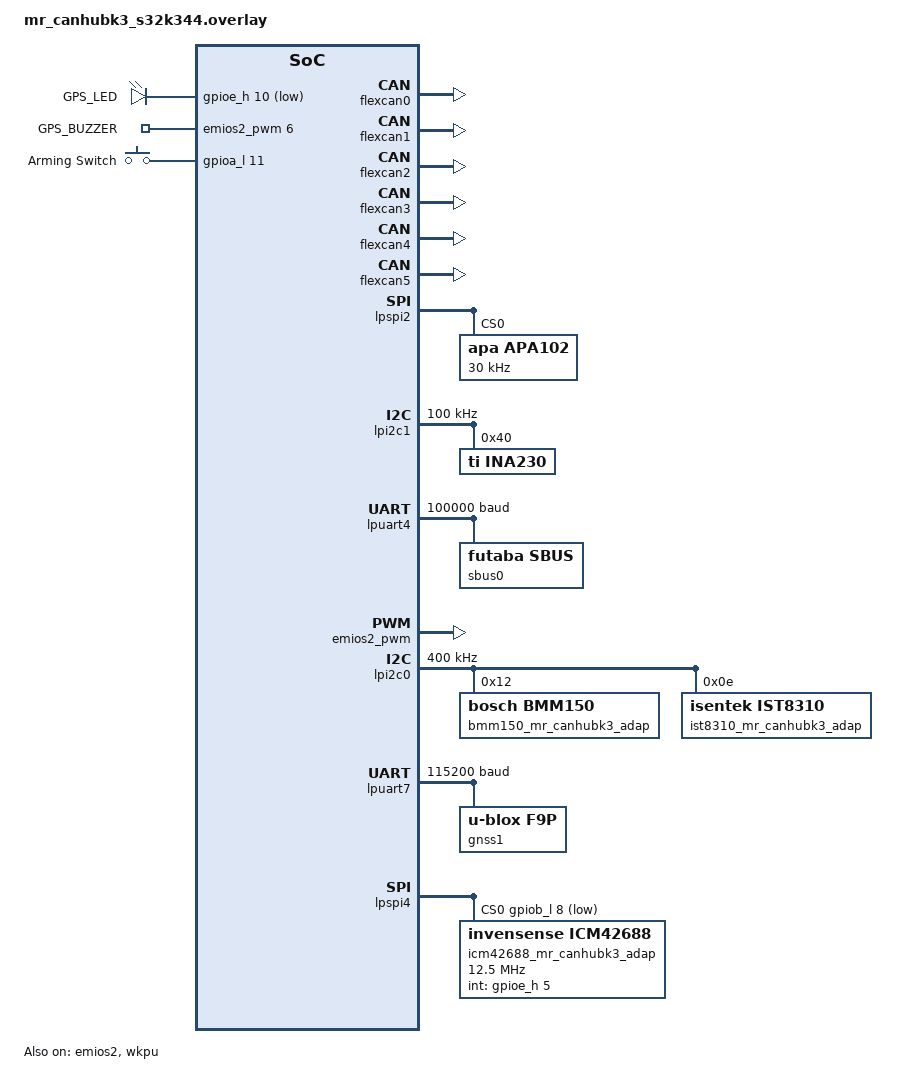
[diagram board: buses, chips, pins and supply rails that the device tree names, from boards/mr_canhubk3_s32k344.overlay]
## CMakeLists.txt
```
#-------------------------------------------------------------------------------
# Zephyr Cerebri Application
#
# Copyright (c) 2023 CogniPilot Foundation
# SPDX-License-Identifier: Apache-2.0

cmake_minimum_required(VERSION 3.13.1)

find_package(Zephyr REQUIRED HINTS $ENV{ZEPHYR_BASE})

project(b3rb LANGUAGES C)

set(CYECCA_PYTHON  ${CMAKE_CURRENT_SOURCE_DIR}/../../scripts/cyecca_python)

set(flags
  -std=c11
  -Wall
  -Wextra
  -Werror
  -Wstrict-prototypes
  -Waggregate-return
  -Wbad-function-cast
  -Wcast-align
  -Wcast-qual
  -Wfloat-equal
  -Wformat-security
  -Wlogical-op
  -Wmissing-declarations
  # ubxlib includes geographiclib which dir doesn't exist
  #-Wmissing-include-dirs
  -Wmissing-prototypes
  -Wnested-externs
  -Wpointer-arith
  -Wredundant-decls
  -Wsequence-point
  -Wshadow
  -Wstrict-prototypes
  -Wswitch
  -Wundef
  -Wunreachable-code
  -Wunused-but-set-parameter
  -Wwrite-strings
  )
string(JOIN " " flags ${flags})

set(SOURCE_FILES
  src/boot_banner.c
  src/input_mapping.c
  )

if (CONFIG_CEREBRI_B3RB_FSM)
  list(APPEND SOURCE_FILES src/fsm.c)
endif()

if (CONFIG_CEREBRI_B3RB_ESTIMATE)
  list(APPEND SOURCE_FILES src/estimate.c)
endif()

if (CONFIG_CEREBRI_B3RB_MIXING)
  list(APPEND SOURCE_FILES src/mixing.c)
endif()

if (CONFIG_CEREBRI_B3RB_LIGHTING)
  list(APPEND SOURCE_FILES src/lighting.c)
endif()

if (CONFIG_CEREBRI_B3RB_COMMAND)
  list(APPEND SOURCE_FILES src/command.c)
endif()

if (CONFIG_CEREBRI_B3RB_POSITION)
  list(APPEND SOURCE_FILES
    src/position.c)
endif()

if (CONFIG_CEREBRI_B3RB_VELOCITY)
  list(APPEND SOURCE_FILES
    src/velocity.c)
endif()

set(CASADI_DEST_DIR ${CMAKE_BINARY_DIR}/app/b3rb/casadi)

set(CASADI_FILES
  ${CASADI_DEST_DIR}/b3rb.c
  )

if (CONFIG_CEREBRI_B3RB_CASADI)
  list(APPEND SOURCE_FILES
    ${CASADI_DEST_DIR}/b3rb.c
    )
endif()

add_custom_command(OUTPUT ${CASADI_DEST_DIR}/b3rb.c
  COMMAND ${CYECCA_PYTHON} ${CMAKE_CURRENT_SOURCE_DIR}/src/casadi/b3rb.py ${CASADI_DEST_DIR}
  DEPENDS ${CMAKE_CURRENT_SOURCE_DIR}/src/casadi/b3rb.py)

set_source_files_properties(
  ${SOURCE_FILES}
  PROPERTIES COMPILE_FLAGS
  "${flags}"
  )

set_source_files_properties(
  ${CASADI_FILES}
  PROPERTIES COMPILE_FLAGS
  "${flags}\
  -Wno-unused-parameter\
  -Wno-missing-prototypes\
  -Wno-missing-declarations\
  -Wno-float-equal")

target_sources(app PRIVATE ${SOURCE_FILES})

target_include_directories(app SYSTEM BEFORE PRIVATE ${ZEPHYR_BASE}/include ${CMAKE_BINARY_DIR})

if ((CONFIG_BOARD STREQUAL "mr_navq95a") OR
  (CONFIG_BOARD STREQUAL "mr_navq95b"))
  # Relocate code to ITCM
  zephyr_linker_sources(ITCM_SECTION boards/mr_navq95_itcm_linker.ld)
  zephyr_code_relocate(LIBRARY nanopb LOCATION ITCM_TEXT)
  # Relocate log ring buffer to SDRAM
  zephyr_linker_sources(SECTIONS boards/navq95.ld)
endif()

# vi: ts=2 sw=2 et
```

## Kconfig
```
# Copyright (c) 2023, CogniPilot Foundation
# SPDX-License-Identifier: Apache-2.0

mainmenu "CogniPilot - Cerebri - B3RB"
menu "Zephyr"
source "Kconfig.zephyr"
endmenu

menu "B3RB"
config CEREBRI_B3RB_ESTIMATE
  bool "enable estimate"
  depends on CEREBRI_B3RB_CASADI
  help
    Enable estimator

config CEREBRI_B3RB_FSM
  bool "enable finite state machine"
  help
    Enable fintie state machine

config CEREBRI_B3RB_LIGHTING
  bool "enable lighting"
  help
    Enable lighting

config CEREBRI_B3RB_COMMAND
  bool "enable command"
  depends on CEREBRI_B3RB_MIXING
  help
    Enable command

config CEREBRI_B3RB_MIXING
  bool "enable mixing"
  help
    Enable mixing

config CEREBRI_B3RB_POSITION
  bool "enable position"
  depends on CEREBRI_B3RB_CASADI
  help
    Enable position

config CEREBRI_B3RB_VELOCITY
  bool "enable velocity"
  depends on CEREBRI_B3RB_MIXING
  depends on CEREBRI_B3RB_CASADI
  help
    Enable velocity

config CEREBRI_B3RB_CASADI
  bool "enable casadi code"
  help
    Enable Casadi generated code

config CEREBRI_B3RB_BATTERY_MIN_MILLIVOLT
  int "min battery voltage in milli volts before shut off"
  default 10000
  help
    Minimum battery voltage in mV before auto-disarm

config CEREBRI_B3RB_BATTERY_LOW_MILLIVOLT
  int "low battery voltage in milli volts before warning"
  default 10500
  help
    Low battery voltage in mV before warning

config CEREBRI_B3RB_BATTERY_MAX_MILLIVOLT
  int "max battery voltage in milli volts"
  default 12600
  help
    Maximum battery voltage

config CEREBRI_B3RB_GAIN_HEADING
  int "heading gain"
  default 100
  help
    Steering = Heading error * GAIN_/ 1000

config CEREBRI_B3RB_GAIN_CROSS_TRACK
  int "cross track gain"
  default 100
  help
    Steering = Cross track error * GAIN / 1000

config CEREBRI_B3RB_GAIN_ALONG_TRACK
  int "along track gain"
  default 100
  help
    Steering = Along track error * GAIN / 1000

config CEREBRI_B3RB_MAX_TURN_ANGLE_MRAD
  int "max turn angle mrad"
  default 400
  help
    Max turn angle in milli-radians

config CEREBRI_B3RB_MAX_VELOCITY_MM_S
  int "max velocity, mm/s"
  default 1000
  help
    Max velocity in mm/s

config CEREBRI_B3RB_WHEEL_RADIUS_MM
  int "wheel radius, mm"
  default 37
  help
    Wheel radius in mm

config CEREBRI_B3RB_WHEEL_BASE_MM
  int "wheel base, mm"
  default 226
  help
    Wheel radius in mm

module = CEREBRI_B3RB
module-str = cerebri_b3rb
source "subsys/logging/Kconfig.template.log_config"
endmenu
```

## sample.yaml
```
sample:
  description: B3RB
  name: B3RB
common:
  build_only: true
tests:
  b3rb.posix:
    tags:
      - b3rb
    integration_platforms:
      - native_sim
  b3rb.mr_canhubk3/s32k344:
    tags:
      - b3rb
    integration_platforms:
      - mr_canhubk3
  b3rb.mr_navq95a/mimx9596/m7/flash:
    tags:
      - b3rb
    integration_platforms:
      - mr_navq95a/mimx9596/m7/flash
  b3rb.mr_navq95b/mimx9596/m7/flash:
    tags:
      - b3rb
    integration_platforms:
      - mr_navq95b/mimx9596/m7/flash
```

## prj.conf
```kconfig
CONFIG_CEREBRI_APP_NAME="b3rb"

CONFIG_SYS_CLOCK_TICKS_PER_SEC=10000
CONFIG_TICKLESS_KERNEL=n

CONFIG_CEREBRI_DREAM_SIL=n

CONFIG_CEREBRI_B3RB_ESTIMATE=y
CONFIG_CEREBRI_B3RB_FSM=y
CONFIG_CEREBRI_B3RB_COMMAND=y
CONFIG_CEREBRI_B3RB_MIXING=y
CONFIG_CEREBRI_B3RB_POSITION=y
CONFIG_CEREBRI_B3RB_VELOCITY=y
CONFIG_CEREBRI_B3RB_LIGHTING=y
CONFIG_CEREBRI_B3RB_CASADI=y
CONFIG_CEREBRI_ACTUATE_LED_ARRAY_COUNT=12

CONFIG_CEREBRI_ACTUATE_PWM=y
CONFIG_CEREBRI_ACTUATE_LED_ARRAY=y
CONFIG_CEREBRI_ACTUATE_SOUND=y

CONFIG_NET_BUF_RX_COUNT=24
CONFIG_NET_PKT_RX_COUNT=24

CONFIG_CEREBRI_SENSE_RC=y
CONFIG_INPUT_MODE_SYNCHRONOUS=y
CONFIG_CEREBRI_SENSE_POWER=y
CONFIG_CEREBRI_SENSE_SAFETY=y
CONFIG_ZROS_SENSE_IMU=y
CONFIG_ZROS_SENSE_MAG=y
CONFIG_CEREBRI_SENSE_WHEEL_ODOMETRY=y

CONFIG_CEREBRI_SYNAPSE_ETH_RX=y
CONFIG_CEREBRI_SYNAPSE_ETH_TX=y

CONFIG_CEREBRI_SYNAPSE_TOPIC=y
CONFIG_CEREBRI_CORE_COMMON=y
CONFIG_CEREBRI_CORE_COMMON_BOOT_BANNER=y
CONFIG_ZROS=y
CONFIG_SHELL_STACK_SIZE=8192
CONFIG_INIT_STACKS=y

CONFIG_LOG=y
CONFIG_LOG_CMDS=y
CONFIG_LOG_MODE_DEFERRED=y

CONFIG_CEREBRI_SYNAPSE_LOG_SDCARD=n

CONFIG_CBPRINTF_FP_SUPPORT=y

# modules
CONFIG_SYNAPSE_PB=y
CONFIG_NANOPB=y

# Debug
CONFIG_CEREBRI_ACTUATE_PWM_LOG_LEVEL_DBG=n
CONFIG_CEREBRI_SENSE_WHEEL_ODOMETRY_LOG_LEVEL_DBG=n
CONFIG_ZROS_SENSE_IMU_LOG_LEVEL_DBG=n
CONFIG_CEREBRI_SENSE_SAFETY_LOG_LEVEL_DBG=n
CONFIG_CEREBRI_ACTUATE_PWM_LOG_LEVEL_DBG=n

# General config
CONFIG_POSIX_API=y
CONFIG_NEWLIB_LIBC=y
CONFIG_MAIN_THREAD_PRIORITY=5
CONFIG_SYSTEM_WORKQUEUE_PRIORITY=-2
CONFIG_SYS_CLOCK_TICKS_PER_SEC=10000

# Networking config
CONFIG_NET_SHELL=y
CONFIG_NETWORKING=y
CONFIG_NET_IPV4=y
CONFIG_NET_IPV6=n
CONFIG_NET_TCP=y
CONFIG_NET_SOCKETS=y

# Network address config
CONFIG_NET_CONFIG_SETTINGS=y
CONFIG_NET_STATISTICS=y
CONFIG_NET_MGMT_EVENT_INFO=y
CONFIG_NET_MGMT_EVENT_MONITOR=y
CONFIG_NET_BUF_POOL_USAGE=y
CONFIG_NET_DEBUG_NET_PKT_ALLOC=y
CONFIG_NET_CONFIG_NEED_IPV4=y
CONFIG_NET_CONFIG_MY_IPV4_ADDR="192.0.2.1"
CONFIG_NET_CONFIG_PEER_IPV4_ADDR="192.0.2.2"

# STATS
CONFIG_THREAD_RUNTIME_STATS=y
CONFIG_SCHED_THREAD_USAGE=y
CONFIG_SCHED_THREAD_USAGE_ANALYSIS=y
CONFIG_SCHED_THREAD_USAGE_ALL=y
CONFIG_SCHED_THREAD_USAGE_AUTO_ENABLE=y
```

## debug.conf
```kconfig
../common/debug.conf
```

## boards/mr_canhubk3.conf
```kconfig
CONFIG_ENTROPY_GENERATOR=y
CONFIG_TEST_RANDOM_GENERATOR=y

CONFIG_CEREBRI_ACTUATE_PWM_NUMBER=2
CONFIG_LED_STRIP=y
CONFIG_APA102_STRIP=y

CONFIG_ETH_NXP_S32_RX_RING_LEN=16

# steering
CONFIG_CEREBRI_ACTUATE_PWM_USE_POS_0=y
CONFIG_CEREBRI_ACTUATE_PWM_INDEX_0=0
CONFIG_CEREBRI_ACTUATE_PWM_LINEAR_0=y
CONFIG_CEREBRI_ACTUATE_PWM_LINEAR_M_0=800
CONFIG_CEREBRI_ACTUATE_PWM_LINEAR_M_DIV_0=1
CONFIG_CEREBRI_ACTUATE_PWM_LINEAR_B_0=1500
CONFIG_CEREBRI_ACTUATE_PWM_LINEAR_B_DIV_0=1

# throttle
CONFIG_CEREBRI_ACTUATE_PWM_INDEX_1=0
CONFIG_CEREBRI_ACTUATE_PWM_USE_NANO_SECONDS_1=y
CONFIG_CEREBRI_ACTUATE_PWM_PULSE_MIN_1=0
CONFIG_CEREBRI_ACTUATE_PWM_PULSE_MAX_1=500000
CONFIG_CEREBRI_ACTUATE_PWM_PULSE_CENTER_1=25000
CONFIG_CEREBRI_ACTUATE_PWM_LINEAR_1=y
CONFIG_CEREBRI_ACTUATE_PWM_LINEAR_M_1=717
CONFIG_CEREBRI_ACTUATE_PWM_LINEAR_M_DIV_1=1
CONFIG_CEREBRI_ACTUATE_PWM_LINEAR_B_1=25000
CONFIG_CEREBRI_ACTUATE_PWM_LINEAR_B_DIV_1=1

# GPS M10
CONFIG_CEREBRI_SENSE_UBX_GNSS_MODULE_TYPE_M10=y

CONFIG_PWM=y

CONFIG_CAN=y
CONFIG_CAN_MAX_FILTER=5
CONFIG_CAN_SHELL=y

CONFIG_NET_DRIVERS=y
CONFIG_NET_CANBUS=y

CONFIG_NET_SOCKETS_CAN=y
CONFIG_NET_DEFAULT_IF_CANBUS_RAW=y

CONFIG_CAN_LOG_LEVEL_DBG=n
CONFIG_CAN_FD_MODE=y
CONFIG_SHELL_ARGC_MAX=72
CONFIG_I2C=y
CONFIG_SENSOR=y
CONFIG_HEAP_MEM_POOL_SIZE=16384

# Debugging
CONFIG_DEBUG_THREAD_INFO=y

# Logging
#CONFIG_LOG_BACKEND_NET=n
#CONFIG_LOG_BACKEND_NET_SERVER="192.0.2.2"
```

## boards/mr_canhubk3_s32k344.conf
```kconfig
CONFIG_ENTROPY_GENERATOR=y
CONFIG_TEST_RANDOM_GENERATOR=y
CONFIG_SPEED_OPTIMIZATIONS=y
CONFIG_SIZE_OPTIMIZATIONS=n

CONFIG_TEST=y
CONFIG_UBSAN=n
CONFIG_ASSERT=y
CONFIG_ASSERT_LEVEL=2
CONFIG_ASSERT_VERBOSE=y

CONFIG_SYSTEM_WORKQUEUE_STACK_SIZE=4096

CONFIG_STACK_CANARIES=y

CONFIG_ISR_STACK_SIZE=2048

CONFIG_LOG_MODE_DEFERRED=y
CONFIG_LOG_MODE_IMMEDIATE=n

CONFIG_FPU=y

# config
CONFIG_INPUT=y
CONFIG_INPUT_GPIO_KEYS=y
CONFIG_INPUT_SBUS=y
CONFIG_INPUT_SBUS_THREAD_STACK_SIZE=8192
CONFIG_INPUT_SBUS_REPORT_FILTER=0
CONFIG_INPUT_EVENT_DUMP=n
CONFIG_INPUT_SHELL=n
CONFIG_INPUT_MODE_SYNCHRONOUS=y

CONFIG_CEREBRI_SENSE_RC=y
CONFIG_ZROS_SENSE_MAG=y
CONFIG_CEREBRI_SENSE_SAFETY=y
CONFIG_ZROS_SENSE_GNSS=y
CONFIG_ZROS_SENSE_STREAM=y
CONFIG_ZROS_SENSE_STREAM_IMU=y
CONFIG_SPI_RTIO=y
CONFIG_ZROS_SENSE_STREAM_IMU_DRDY_MODE=y
CONFIG_ZROS_SENSE_IMU=n

CONFIG_CEREBRI_SYNAPSE_ETH_RX=y
CONFIG_CEREBRI_SYNAPSE_ETH_TX=y

CONFIG_PWM=y
CONFIG_CEREBRI_ACTUATE_PWM=y
CONFIG_CEREBRI_ACTUATE_PWM_SHELL=n

CONFIG_LED_STRIP=y
CONFIG_APA102_STRIP=y
CONFIG_CEREBRI_ACTUATE_LED_ARRAY=y
CONFIG_ZROS_SENSE_MAG_COUNT=2
CONFIG_CEREBRI_SENSE_POWER=y
CONFIG_CEREBRI_ACTUATE_SOUND=y

CONFIG_ETH_NXP_S32_RX_RING_LEN=16

CONFIG_CAN=y
CONFIG_CAN_MAX_FILTER=5
CONFIG_CAN_SHELL=y

CONFIG_NET_DRIVERS=y
CONFIG_NET_CANBUS=y

CONFIG_NET_SOCKETS_CAN=y
CONFIG_NET_DEFAULT_IF_CANBUS_RAW=y

CONFIG_CAN_LOG_LEVEL_DBG=n
CONFIG_CAN_FD_MODE=y
CONFIG_SHELL_ARGC_MAX=72
CONFIG_I2C=y
CONFIG_SENSOR=y
CONFIG_SENSOR_SHELL=y
CONFIG_HEAP_MEM_POOL_SIZE=16384

# Debugging
CONFIG_DEBUG_THREAD_INFO=y

# Logging
#CONFIG_LOG_BACKEND_NET=n
#CONFIG_LOG_BACKEND_NET_SERVER="192.0.2.2"
```

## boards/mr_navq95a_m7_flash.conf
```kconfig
CONFIG_ENTROPY_GENERATOR=y
CONFIG_TEST_RANDOM_GENERATOR=y
CONFIG_SPEED_OPTIMIZATIONS=n
CONFIG_SIZE_OPTIMIZATIONS=n
CONFIG_DEBUG_OPTIMIZATIONS=y
CONFIG_CODE_DATA_RELOCATION=y

CONFIG_DISK_ACCESS=n
CONFIG_FS_FATFS_EXFAT=n
CONFIG_DISK_DRIVER_SDMMC=n
CONFIG_FS_FATFS_MOUNT_MKFS=n
CONFIG_CEREBRI_SYNAPSE_LOG_SDCARD=y
CONFIG_RING_BUFFER_LARGE=y

CONFIG_TEST=y
CONFIG_UBSAN=n
CONFIG_ASSERT=y
CONFIG_ASSERT_LEVEL=2
CONFIG_ASSERT_VERBOSE=y

CONFIG_SYSTEM_WORKQUEUE_STACK_SIZE=4096

CONFIG_STACK_CANARIES=y

CONFIG_ISR_STACK_SIZE=2048

CONFIG_SHELL_STACK_SIZE=4096

CONFIG_LOG_MODE_DEFERRED=y
CONFIG_LOG_MODE_IMMEDIATE=n

CONFIG_FPU=y

# config
CONFIG_INPUT=y
# CONFIG_INPUT_GPIO_KEYS=y (not in dt)
CONFIG_INPUT_SBUS=y
CONFIG_INPUT_SBUS_THREAD_STACK_SIZE=1024
CONFIG_INPUT_SBUS_REPORT_FILTER=0
CONFIG_INPUT_EVENT_DUMP=n
CONFIG_INPUT_SHELL=n
CONFIG_INPUT_MODE_SYNCHRONOUS=y


CONFIG_CEREBRI_SENSE_RC=y
CONFIG_ZROS_SENSE_IMU=y
#CONFIG_ZROS_SENSE_MAG=y
CONFIG_CEREBRI_SENSE_SAFETY=n

# I3C tends to lock up the system, needs a driver fix
CONFIG_ZROS_SENSE_MAG=n
CONFIG_I3C=n
CONFIG_BMM350=n
CONFIG_BMP581=n

CONFIG_CEREBRI_SYNAPSE_ETH_RX=y
CONFIG_CEREBRI_SYNAPSE_ETH_TX=y

CONFIG_PWM=y
CONFIG_CEREBRI_ACTUATE_PWM=y
CONFIG_CEREBRI_ACTUATE_PWM_SHELL=n

CONFIG_LED_STRIP=n
CONFIG_APA102_STRIP=n
CONFIG_CEREBRI_ACTUATE_LED_ARRAY=n
CONFIG_CEREBRI_SENSE_POWER=y
CONFIG_CEREBRI_ACTUATE_SOUND=n

CONFIG_CAN=y
CONFIG_CAN_MAX_FILTER=5
CONFIG_CAN_SHELL=y

CONFIG_NET_DRIVERS=y

CONFIG_NET_SOCKETS_CAN=y
CONFIG_NET_DEFAULT_IF_CANBUS_RAW=y

CONFIG_CAN_LOG_LEVEL_DBG=n
CONFIG_CAN_FD_MODE=y
CONFIG_SHELL_ARGC_MAX=72
CONFIG_I2C=y
CONFIG_SENSOR=y
CONFIG_SENSOR_SHELL=y
CONFIG_HEAP_MEM_POOL_SIZE=16384

# Debugging
CONFIG_DEBUG_THREAD_INFO=y

# Logging
#CONFIG_LOG_BACKEND_NET=n
#CONFIG_LOG_BACKEND_NET_SERVER="192.0.2.2"

# RPMsg
CONFIG_IPM=y
CONFIG_IPM_MBOX=y
CONFIG_MBOX_NXP_IMX_MU=y
CONFIG_MBOX_INIT_PRIORITY=0
CONFIG_OPENAMP=y
CONFIG_OPENAMP_COPY_RSC_TABLE=y
CONFIG_OPENAMP_RSC_TABLE_NUM_RPMSG_BUFF=8
CONFIG_OPENAMP_RSC_TABLE=y
CONFIG_OPENAMP_MASTER=n
CONFIG_OPENAMP_WITH_DCACHE=y
CONFIG_CEREBRI_SYNAPSE_RPMSG=y

# TTY over RPMsg (uncomment block below to enable)
#CONFIG_SHELL_BACKEND_RPMSG=y
#CONFIG_SHELL_BACKEND_SERIAL=n
#CONFIG_ASSERT=n

# Disable fat and enable rpmsgfs
CONFIG_FILE_SYSTEM_RPMSGFS=y
CONFIG_FAT_FILESYSTEM_ELM=n
CONFIG_FILE_SYSTEM_SHELL=y

# Disable atomic 64 support otherwise open-amp cannot be linked
CONFIG_COMPILER_OPT="-DNO_ATOMIC_64_SUPPORT"
```

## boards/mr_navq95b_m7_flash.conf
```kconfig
CONFIG_ENTROPY_GENERATOR=y
CONFIG_TEST_RANDOM_GENERATOR=y
CONFIG_SPEED_OPTIMIZATIONS=n
CONFIG_SIZE_OPTIMIZATIONS=n
CONFIG_DEBUG_OPTIMIZATIONS=y
CONFIG_CODE_DATA_RELOCATION=y

CONFIG_DISK_ACCESS=n
CONFIG_FS_FATFS_EXFAT=n
CONFIG_DISK_DRIVER_SDMMC=n
CONFIG_FS_FATFS_MOUNT_MKFS=n
CONFIG_CEREBRI_SYNAPSE_LOG_SDCARD=y
CONFIG_RING_BUFFER_LARGE=y

CONFIG_TEST=y
CONFIG_UBSAN=n
CONFIG_ASSERT=y
CONFIG_ASSERT_LEVEL=2
CONFIG_ASSERT_VERBOSE=y

CONFIG_SYSTEM_WORKQUEUE_STACK_SIZE=4096

CONFIG_STACK_CANARIES=y

CONFIG_ISR_STACK_SIZE=2048

CONFIG_SHELL_STACK_SIZE=4096

CONFIG_LOG_MODE_DEFERRED=y
CONFIG_LOG_MODE_IMMEDIATE=n

CONFIG_FPU=y

# config
CONFIG_INPUT=y
# CONFIG_INPUT_GPIO_KEYS=y (not in dt)
CONFIG_INPUT_SBUS=y
CONFIG_INPUT_SBUS_THREAD_STACK_SIZE=1024
CONFIG_INPUT_SBUS_REPORT_FILTER=0
CONFIG_INPUT_EVENT_DUMP=n
CONFIG_INPUT_SHELL=n
CONFIG_INPUT_MODE_SYNCHRONOUS=y


CONFIG_ZROS_SENSE_IMU=y
#CONFIG_ZROS_SENSE_MAG=y
CONFIG_CEREBRI_SENSE_SAFETY=n

# I3C tends to lock up the system, needs a driver fix
CONFIG_ZROS_SENSE_MAG=n
CONFIG_I3C=n
CONFIG_BMM350=n
CONFIG_BMP581=n

CONFIG_CEREBRI_SYNAPSE_ETH_RX=y
CONFIG_CEREBRI_SYNAPSE_ETH_TX=y

CONFIG_PWM=y
CONFIG_CEREBRI_ACTUATE_PWM=y
CONFIG_CEREBRI_ACTUATE_PWM_SHELL=n

CONFIG_LED_STRIP=n
CONFIG_APA102_STRIP=n
CONFIG_CEREBRI_ACTUATE_LED_ARRAY=n
CONFIG_CEREBRI_SENSE_POWER=y
CONFIG_CEREBRI_ACTUATE_SOUND=n

CONFIG_CAN=y
CONFIG_CAN_MAX_FILTER=5
CONFIG_CAN_SHELL=y

CONFIG_NET_DRIVERS=y

CONFIG_NET_SOCKETS_CAN=y
CONFIG_NET_DEFAULT_IF_CANBUS_RAW=y

CONFIG_CAN_LOG_LEVEL_DBG=n
CONFIG_CAN_FD_MODE=y
CONFIG_SHELL_ARGC_MAX=72
CONFIG_I2C=y
CONFIG_SENSOR=y
CONFIG_SENSOR_SHELL=y
CONFIG_HEAP_MEM_POOL_SIZE=16384

# Debugging
CONFIG_DEBUG_THREAD_INFO=y

# Logging
#CONFIG_LOG_BACKEND_NET=n
#CONFIG_LOG_BACKEND_NET_SERVER="192.0.2.2"

# RPMsg
CONFIG_IPM=y
CONFIG_IPM_MBOX=y
CONFIG_MBOX_NXP_IMX_MU=y
CONFIG_MBOX_INIT_PRIORITY=0
CONFIG_OPENAMP=y
CONFIG_OPENAMP_COPY_RSC_TABLE=y
CONFIG_OPENAMP_RSC_TABLE_NUM_RPMSG_BUFF=8
CONFIG_OPENAMP_RSC_TABLE=y
CONFIG_OPENAMP_MASTER=n
CONFIG_OPENAMP_WITH_DCACHE=y
CONFIG_CEREBRI_SYNAPSE_RPMSG=y

# TTY over RPMsg (uncomment block below to enable)
#CONFIG_SHELL_BACKEND_RPMSG=y
#CONFIG_SHELL_BACKEND_SERIAL=n
#CONFIG_ASSERT=n

# Disable fat and enable rpmsgfs
CONFIG_FILE_SYSTEM_RPMSGFS=y
CONFIG_FAT_FILESYSTEM_ELM=n
CONFIG_FILE_SYSTEM_SHELL=y

# Disable atomic 64 support otherwise open-amp cannot be linked
CONFIG_COMPILER_OPT="-DNO_ATOMIC_64_SUPPORT"
```

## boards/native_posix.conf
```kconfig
CONFIG_ETH_NATIVE_POSIX=y
CONFIG_TEST_RANDOM_GENERATOR=y
CONFIG_SYS_CLOCK_TICKS_PER_SEC=200
CONFIG_NATIVE_POSIX_SLOWDOWN_TO_REAL_TIME=n

CONFIG_NO_OPTIMIZATIONS=y
CONFIG_NATIVE_UART_0_ON_STDINOUT=y
CONFIG_NATIVE_UART_AUTOATTACH_DEFAULT_CMD="xterm -fa Monospcae -fs 12 -fg grey -bg black -T cerebri-shell -e screen %s &"

CONFIG_CEREBRI_BOOT_BANNER=n
CONFIG_CEREBRI_DREAM_SIL=y
CONFIG_UBXLIB=n

CONFIG_CEREBRI_ACTUATE_LED_ARRAY=n
CONFIG_CEREBRI_SENSE_IMU=n
CONFIG_CEREBRI_SENSE_BARO=n
CONFIG_CEREBRI_SENSE_MAG=n
CONFIG_CEREBRI_SENSE_UBX_GNSS=n
CONFIG_CEREBRI_SENSE_SAFETY=n
CONFIG_CEREBRI_SENSE_WHEEL_ODOMETRY=n

CONFIG_CEREBRI_DREAM_SIL_LOG_LEVEL_DBG=n

CONFIG_NEWLIB_LIBC=n
CONFIG_EXTERNAL_LIBC=y
CONFIG_POSIX_API=n
```

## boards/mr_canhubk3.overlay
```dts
/* SPDX-License-Identifier: Apache-2.0 */
/* Copyright 2023 CogniPilot Foundation */
#include <zephyr/dt-bindings/sensor/ina230.h>

/ {
	pwm_shell: pwm_shell {
		compatible = "pwm-leds";
		aux0: aux0 {
			pwms = <&emios0_pwm 0 PWM_HZ(50) PWM_POLARITY_NORMAL>;
		};
		aux1: aux1 {
			pwms = <&emios0_pwm 2 PWM_HZ(20000) PWM_POLARITY_NORMAL>;
		};
		aux2: aux2 {
			pwms = <&emios0_pwm 1 PWM_HZ(20000) PWM_POLARITY_NORMAL>;
		};
		aux3: aux3 {
			pwms = <&emios0_pwm 3 PWM_HZ(50) PWM_POLARITY_NORMAL>;
		};
		aux4: aux4 {
			pwms = <&emios0_pwm 4 PWM_HZ(50) PWM_POLARITY_NORMAL>;
		};
		aux5: aux5 {
			pwms = <&emios0_pwm 5 PWM_HZ(50) PWM_POLARITY_NORMAL>;
		};
	};

	chosen {
		zephyr,canbus = &flexcan3;
	};

	aliases {
		can0 = &flexcan0;
		can1 = &flexcan1;
		can2 = &flexcan2;
		can3 = &flexcan3;
		can4 = &flexcan4;
		can5 = &flexcan5;
		/* power sensors */
		power0 = &ina230;
		/* safety button */
		safety-button = &arming_button_mr_canhubk3_adap;
		/* wheel odometry */
		wheel-odometry0 = &qdec0;
	};
};

&emios0_pwm {
	pwm_0 {
	};
	pwm_1 {
		prescaler = <1>;
		duty-cycle = <0>;
	};
	pwm_2 {
		prescaler = <1>;
	};
	pwm_3 {
		prescaler = <16>;
	};
	pwm_4 {
		prescaler = <16>;
	};
	pwm_5 {
		prescaler = <16>;
	};
};



&flexcan0 {
	status = "okay";
	bus-speed = <1000000>;
	bus-speed-data = <4000000>;
};

&flexcan1 {
	status = "okay";
	bus-speed = <1000000>;
	bus-speed-data = <4000000>;
};

&flexcan2 {
	status = "okay";
	bus-speed = <1000000>;
	bus-speed-data = <4000000>;
};

&flexcan3 {
	status = "okay";
	bus-speed = <1000000>;
	bus-speed-data = <4000000>;
};

&flexcan4 {
	status = "okay";
	bus-speed = <1000000>;
	bus-speed-data = <4000000>;
};

&flexcan5 {
	status = "okay";
	bus-speed = <1000000>;
	bus-speed-data = <4000000>;
};

&lpspi2 {
	status = "okay";
	apa102: apa102@0 {
	compatible = "apa,apa102";
		status = "okay";
		reg = <0>;
		spi-max-frequency = <30000>;
	};
};

&lpi2c1 {
	status = "okay";
	pinctrl-0 = <&lpi2c1_default>;
	pinctrl-names = "default";
	clock-frequency = <I2C_BITRATE_STANDARD>;

	ina230: ina230@40 {
		compatible = "ti,ina230";
		reg = <0x40>;
		current-lsb-microamps = <10000>;
		rshunt-micro-ohms = <2000>;
	};
};

/* GNSS 1 */
uart0: &lpuart7 {
	status = "okay";
	current-speed = <115200>;
};
```

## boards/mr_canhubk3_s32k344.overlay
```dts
/* SPDX-License-Identifier: Apache-2.0 */
/* Copyright 2023 CogniPilot Foundation */
#include <freq.h>
#include <zephyr/dt-bindings/gpio/nxp-siul2-gpio.h>
#include <zephyr/dt-bindings/input/input-event-codes.h>
#include <zephyr/dt-bindings/led/led.h>
#include <zephyr/dt-bindings/sensor/ina230.h>
#include <zephyr/dt-bindings/sensor/icm42688.h>

/ {
	pwm_actuators: pwm_actuators {
		compatible = "cerebri,pwm-actuators";
		aux0 {
			input-type = "position";
			input-index = <0>;
			pwms = <&emios0_pwm 0 PWM_HZ(50) PWM_POLARITY_NORMAL>;
			disarmed = <1500>;
			min = <1100>;
			max = <1900>;
			center = <1500>;
			scale = <800>;
			scale-div = <1>;

		};
		aux1 {
			input-type = "velocity";
			input-index = <0>;
			pwms = <&emios0_pwm 2 PWM_HZ(20000) PWM_POLARITY_NORMAL>;
			disarmed = <25000>;
			min = <0>;
			max = <50000>;
			center = <25000>;
			scale = <717>;
			scale-div = <1>;
			use-nano-seconds;
		};
		aux2 {
			input-type = "normalized";
			input-index = <0>;
			pwms = <&emios0_pwm 1 PWM_HZ(20000) PWM_POLARITY_NORMAL>;
			disarmed = <0>;
			min = <0>;
			max = <50000>;
			center = <0>;
			scale = <50000>;
			scale-div = <1>;
			use-nano-seconds;
		};
	};

	chosen {
		zephyr,canbus = &flexcan3;
	};

	aliases {
		can0 = &flexcan0;
		can1 = &flexcan1;
		can2 = &flexcan2;
		can3 = &flexcan3;
		can4 = &flexcan4;
		can5 = &flexcan5;
		imu-stream-0 = &icm42688_mr_canhubk3_adap;
		mag0 = &bmm150_mr_canhubk3_adap;
		mag1 = &ist8310_mr_canhubk3_adap;
		led0 = &gps_led_mr_canhubk3_adap;
		buzzer = &gps_buzzer_mr_canhubk3_adap;
		power0 = &ina230;
		wheel-odometry0 = &qdec0;
		rc = &sbus0;
		safety-button = &safety_button_mr_canhubk3_adap;
		gnss = &gnss1;
	};
	leds {
		gps_led_mr_canhubk3_adap: gps_led {
			label = "GPS_LED";
			gpios = <&gpioe_h 10 GPIO_ACTIVE_LOW>;
		};
	};
	pwmbuzzers {
		compatible = "pwm-leds";

		gps_buzzer_mr_canhubk3_adap: gps_buzzer {
			label = "GPS_BUZZER";
			pwms = <&emios2_pwm 6 PWM_KHZ(1) PWM_POLARITY_NORMAL>;
		};
	};
	gpio_keys {
		compatible = "gpio-keys";
		safety_button_mr_canhubk3_adap: button_0 {
			label = "Arming Switch";
			gpios = <&gpioa_l 11 (GPIO_PULL_DOWN | GPIO_ACTIVE_HIGH)>;
			zephyr,code = <INPUT_KEY_0>;
		};
	};
};

&eirq0_default {
    group2 {
        pinmux = <PTA11_EIRQ19>;
        input-enable;
    };
};

&gpioa_l {
	status = "okay";
};

&emios0_pwm {
	pwm_0 {
		/delete-property/ prescaler;
		master-bus = <&emios0_bus_a>;
		pwm-mode = "OPWMB";
		phase-shift = <100>;
	};
	pwm_1 {
		prescaler = <1>;
	};
	pwm_2 {
		prescaler = <1>;
	};
};

&flexcan0 {
	status = "okay";
};

&flexcan1 {
	status = "okay";
};

&flexcan2 {
	status = "okay";
};

&flexcan3 {
	status = "okay";
};

&flexcan4 {
	status = "okay";
};

&flexcan5 {
	status = "okay";
};

&lpspi2 {
	status = "okay";
	apa102: apa102@0 {
		compatible = "apa,apa102";
		reg = <0>;
		spi-max-frequency = <30000>;
		status = "okay";
		chain-length = <12>;
		color-mapping = <>;
	};
};

&lpi2c1 {
	status = "okay";
	pinctrl-0 = <&lpi2c1_default>;
	pinctrl-names = "default";
	clock-frequency = <I2C_BITRATE_STANDARD>;

	ina230: ina230@40 {
		compatible = "ti,ina230";
		reg = <0x40>;
		current-lsb-microamps = <10000>;
		rshunt-micro-ohms = <2000>;
	};
};

&lpuart4 {
	status = "okay";
	pinctrl-0 = <&lpuart4_mr_canhubk3_adap>;
	pinctrl-names = "default";
	current-speed = <100000>;
	single-wire;
	rx-invert;

	sbus0: sbus {
		compatible = "futaba,sbus";
		chan_1 {
			channel = <1>;
			type = <INPUT_EV_ABS>;
			zephyr,code = <1>;
		};
		chan_2 {
			channel = <2>;
			type = <INPUT_EV_ABS>;
			zephyr,code = <2>;
		};
		chan_3 {
			channel = <3>;
			type = <INPUT_EV_ABS>;
			zephyr,code = <3>;
		};
		chan_4 {
			channel = <4>;
			type = <INPUT_EV_ABS>;
			zephyr,code = <4>;
		};
		chan_5 {
			channel = <5>;
			type = <INPUT_EV_ABS>;
			zephyr,code = <5>;
		};
		chan_6 {
			channel = <6>;
			type = <INPUT_EV_ABS>;
			zephyr,code = <6>;
		};
		chan_7 {
			channel = <7>;
			type = <INPUT_EV_ABS>;
			zephyr,code = <7>;
		};
		chan_8 {
			channel = <8>;
			type = <INPUT_EV_ABS>;
			zephyr,code = <8>;
		};
		chan_9 {
			channel = <9>;
			type = <INPUT_EV_ABS>;
			zephyr,code = <9>;
		};
		chan_10 {
			channel = <10>;
			type = <INPUT_EV_ABS>;
			zephyr,code = <10>;
		};
		chan_11 {
			channel = <11>;
			type = <INPUT_EV_ABS>;
			zephyr,code = <11>;
		};
		chan_12 {
			channel = <12>;
			type = <INPUT_EV_ABS>;
			zephyr,code = <12>;
		};
		chan_13 {
			channel = <13>;
			type = <INPUT_EV_ABS>;
			zephyr,code = <13>;
		};
		chan_14 {
			channel = <14>;
			type = <INPUT_EV_ABS>;
			zephyr,code = <14>;
		};
		chan_15 {
			channel = <15>;
			type = <INPUT_EV_ABS>;
			zephyr,code = <15>;
		};
		chan_16 {
			channel = <16>;
			type = <INPUT_EV_ABS>;
			zephyr,code = <16>;
		};
	};
};

&emios2 {
	clock-divider = <160>;
	status = "okay";

	master_bus {
		/* Internal counter's clock = 160 MHz (eMIOS1 clk) / 160 / 1 = 1 MHz */
		emios2_bus_b {
			mode = "MCB_UP_COUNTER";
			prescaler = <1>;
			status = "okay";
		};
	};

	emios2_pwm: pwm {
		pinctrl-0 = <&emios2_mr_canhubk3_adap>;
		pinctrl-names = "default";
		status = "okay";

		pwm_gps_buzzer {
			channel = <6>;
			master-bus = <&emios2_bus_b>;
			pwm-mode = "OPWMB";
		};
	};
};

&lpi2c0 {
	status = "okay";
	clock-frequency = <I2C_BITRATE_FAST>;

	bmm150_mr_canhubk3_adap: bmm150@12  {
		compatible = "bosch,bmm150";
		status = "okay";
		reg = <0x12>;
	};

	ist8310_mr_canhubk3_adap: ist8310@e {
		compatible = "isentek,ist8310";
		status = "okay";
		reg = <0xe>;
	};
};

&wkpu {
	status = "okay";
};

&pinctrl {
	lpspi4_mr_canhubk3_adap: lpspi4_mr_canhubk3_adap {
		group1 {
			pinmux = <PTB10_LPSPI4_SCK_O>, <PTB11_LPSPI4_SIN_O>;
			output-enable;
		};
		group2 {
			pinmux = <PTB9_LPSPI4_SOUT_I>;
			input-enable;
		};
	};

	emios2_mr_canhubk3_adap: emios2_mr_canhubk3_adap {
		group1 {
			pinmux = <PTE26_EMIOS_2_CH6_H_O>;
			output-enable;
		};
	};

	lpuart4_mr_canhubk3_adap: lpuart4_mr_canhubk3_adap {
		group1 {
			pinmux = <PTE11_LPUART4_TX_I>;
			input-enable;
		};
	};

	lpuart7_mr_canhubk3_adap: lpuart7_mr_canhubk3_adap {
		group1 {
			pinmux = <PTE1_LPUART7_TX_O>;
			output-enable;
		};
		group2 {
			pinmux = <PTE0_LPUART7_RX>;
			input-enable;
		};
	};
};

/* GNSS 1 */
uart0: &lpuart7 {
	status = "okay";
	pinctrl-0 = <&lpuart7_mr_canhubk3_adap>;
	pinctrl-names = "default";
	current-speed = <115200>;

	gnss1: gnss {
		status = "okay";
		compatible = "u-blox,f9p";
		fix-rate = <100>;
	};
};

&lpspi4 {
	status = "okay";
	pinctrl-0 = <&lpspi4_mr_canhubk3_adap>;
	pinctrl-names = "default";
	cs-gpios = <&gpiob_l 8 GPIO_ACTIVE_LOW>;

	icm42688_mr_canhubk3_adap: icm42688p0@0 {
		compatible = "invensense,icm42688", "invensense,icm4268x";
		reg = <0>;
		int-gpios = <&gpioe_h 5 NXP_SIUL2_GPIO_INT_WKPU>;
		spi-max-frequency = <12500000>;
		spi-cs-setup-delay-ns = <50>;
		spi-cs-hold-delay-ns = <50>;
		spi-interframe-delay-ns = <50>;
		accel-pwr-mode = <ICM42688_DT_ACCEL_LN>;
		accel-odr = <ICM42688_DT_ACCEL_ODR_200>;
		accel-fs = <ICM42688_DT_ACCEL_FS_16>;
		gyro-pwr-mode = <ICM42688_DT_GYRO_LN>;
		gyro-odr = <ICM42688_DT_GYRO_ODR_200>;
		gyro-fs = <ICM42688_DT_GYRO_FS_2000>;
		fifo-hires;
		interrupt1-drdy;
	};
};
```

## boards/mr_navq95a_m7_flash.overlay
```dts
/* SPDX-License-Identifier: Apache-2.0 */
/* Copyright 2025 CogniPilot Foundation */
#include <freq.h>
#include <zephyr/dt-bindings/input/input-event-codes.h>
#include <zephyr/dt-bindings/led/led.h>
#include <zephyr/dt-bindings/sensor/ina230.h>
#include <zephyr/dt-bindings/memory-attr/memory-attr-arm.h>

/ {
	pwm_actuators: pwm_actuators {
		compatible = "cerebri,pwm-actuators";
		aux0 {
			input-type = "position";
			input-index = <0>;
			pwms = <&tpm5 2 PWM_HZ(50) PWM_POLARITY_NORMAL>;
			disarmed = <1500>;
			min = <1100>;
			max = <1900>;
			center = <1500>;
			scale = <800>;
			scale-div = <1>;

		};
		aux1 {
			input-type = "velocity";
			input-index = <0>;
			pwms = <&tpm3 1 PWM_HZ(20000) PWM_POLARITY_NORMAL>;
			disarmed = <25000>;
			min = <0>;
			max = <50000>;
			center = <25000>;
			scale = <717>;
			scale-div = <1>;
			use-nano-seconds;
		};
		aux2 {
			input-type = "normalized";
			input-index = <0>;
			pwms = <&tpm5 0 PWM_HZ(50) PWM_POLARITY_NORMAL>;
			disarmed = <0>;
			min = <0>;
			max = <20000>;
			center = <0>;
			scale = <20000>;
			scale-div = <1>;
		};
	};

	chosen {
		/* zephyr,canbus = &flexcan5; */ 

		zephyr,ipc_shm = &shmem;
		zephyr,ipc_rsc_table = &rsc_table;
		zephyr,ipc = &mailbox0;
	};

	ocram: memory@20480000 {
		compatible = "zephyr,memory-region", "mmio-sram";
		device_type = "memory";
		reg = <0x20480000 DT_SIZE_K(256)>;
		zephyr,memory-region = "OCRAM";
		zephyr,memory-attr = <( DT_MEM_ARM(ATTR_MPU_RAM) )>;
	};

	ddr: ddr@90000000 {
		compatible = "zephyr,memory-region", "mmio-sram";
		device_type = "memory";
		reg = <0x90000000 DT_SIZE_M(4)>;
		zephyr,memory-region = "DDR";
		zephyr,memory-attr = <( DT_MEM_ARM(ATTR_MPU_RAM) )>;
	};

	shmem: memory@88000000 {
		compatible = "mmio-sram";
		reg = <0x88000000 0x500000>;
	};

	rsc_table: memory@88220000 {
		compatible = "mmio-sram";
		reg = <0x88220000 0x100>;
	};

	mailbox0: mailbox {
		compatible = "zephyr,mbox-ipm";
		mboxes = <&mu7 1>, <&mu7 1>;
		mbox-names = "tx", "rx";
		status = "okay";
	};

	aliases {
		accel0 = &bmi08x_accel;
		gyro0 = &bmi08x_gyro;
		mag0 = &bmm350;
		power0 = &ina230;
		wheel-odometry0 = &tpm4;
		rc = &sbus0;
		/* can0 = &flexcan5; */
	};
};

&tpm5 {
	prescaler = <4>;
};

&lpi2c8 {
	clock-frequency = <I2C_BITRATE_STANDARD>;

	ina230: ina230@40 {
		compatible = "ti,ina230";
		reg = <0x40>;
		current-lsb-microamps = <10000>;
		rshunt-micro-ohms = <2000>;
	};
};

&lpuart7 {
	status = "okay";
	current-speed = <100000>;
	single-wire;
	rx-invert;

	sbus0: sbus {
		compatible = "futaba,sbus";
		chan_1 {
			channel = <1>;
			type = <INPUT_EV_ABS>;
			zephyr,code = <1>;
		};
		chan_2 {
			channel = <2>;
			type = <INPUT_EV_ABS>;
			zephyr,code = <2>;
		};
		chan_3 {
			channel = <3>;
			type = <INPUT_EV_ABS>;
			zephyr,code = <3>;
		};
		chan_4 {
			channel = <4>;
			type = <INPUT_EV_ABS>;
			zephyr,code = <4>;
		};
		chan_5 {
			channel = <5>;
			type = <INPUT_EV_ABS>;
			zephyr,code = <5>;
		};
		chan_6 {
			channel = <6>;
			type = <INPUT_EV_ABS>;
			zephyr,code = <6>;
		};
		chan_7 {
			channel = <7>;
			type = <INPUT_EV_ABS>;
			zephyr,code = <7>;
		};
		chan_8 {
			channel = <8>;
			type = <INPUT_EV_ABS>;
			zephyr,code = <8>;
		};
		chan_9 {
			channel = <9>;
			type = <INPUT_EV_ABS>;
			zephyr,code = <9>;
		};
		chan_10 {
			channel = <10>;
			type = <INPUT_EV_ABS>;
			zephyr,code = <10>;
		};
		chan_11 {
			channel = <11>;
			type = <INPUT_EV_ABS>;
			zephyr,code = <11>;
		};
		chan_12 {
			channel = <12>;
			type = <INPUT_EV_ABS>;
			zephyr,code = <12>;
		};
		chan_13 {
			channel = <13>;
			type = <INPUT_EV_ABS>;
			zephyr,code = <13>;
		};
		chan_14 {
			channel = <14>;
			type = <INPUT_EV_ABS>;
			zephyr,code = <14>;
		};
		chan_15 {
			channel = <15>;
			type = <INPUT_EV_ABS>;
			zephyr,code = <15>;
		};
		chan_16 {
			channel = <16>;
			type = <INPUT_EV_ABS>;
			zephyr,code = <16>;
		};
	};
};

&mu7 {
	status = "okay";
};

&tpm4 {
	micro-ticks-per-rev = <685440000>;
};
```

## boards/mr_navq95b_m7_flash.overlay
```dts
/* SPDX-License-Identifier: Apache-2.0 */
/* Copyright 2025 CogniPilot Foundation */
#include <freq.h>
#include <zephyr/dt-bindings/input/input-event-codes.h>
#include <zephyr/dt-bindings/led/led.h>
#include <zephyr/dt-bindings/sensor/ina230.h>
#include <zephyr/dt-bindings/memory-attr/memory-attr-arm.h>

/ {
	pwm_actuators: pwm_actuators {
		compatible = "cerebri,pwm-actuators";
		aux0 {
			input-type = "position";
			input-index = <0>;
			pwms = <&tpm5 1 PWM_HZ(50) PWM_POLARITY_NORMAL>;
			disarmed = <1500>;
			min = <1100>;
			max = <1900>;
			center = <1500>;
			scale = <800>;
			scale-div = <1>;

		};
		aux1 {
			input-type = "velocity";
			input-index = <0>;
			pwms = <&tpm3 1 PWM_HZ(20000) PWM_POLARITY_NORMAL>;
			disarmed = <25000>;
			min = <0>;
			max = <50000>;
			center = <25000>;
			scale = <717>;
			scale-div = <1>;
			use-nano-seconds;
		};
		aux2 {
			input-type = "normalized";
			input-index = <0>;
			pwms = <&tpm5 0 PWM_HZ(50) PWM_POLARITY_NORMAL>;
			disarmed = <0>;
			min = <0>;
			max = <20000>;
			center = <0>;
			scale = <20000>;
			scale-div = <1>;
		};
	};

	chosen {
		/* zephyr,canbus = &flexcan5; */

		zephyr,ipc_shm = &shmem;
		zephyr,ipc_rsc_table = &rsc_table;
		zephyr,ipc = &mailbox0;
	};

	ocram: memory@20480000 {
		compatible = "zephyr,memory-region", "mmio-sram";
		device_type = "memory";
		reg = <0x20480000 DT_SIZE_K(256)>;
		zephyr,memory-region = "OCRAM";
		zephyr,memory-attr = <( DT_MEM_ARM(ATTR_MPU_RAM) )>;
	};

	ddr: ddr@90000000 {
		compatible = "zephyr,memory-region", "mmio-sram";
		device_type = "memory";
		reg = <0x90000000 DT_SIZE_M(4)>;
		zephyr,memory-region = "DDR";
		zephyr,memory-attr = <( DT_MEM_ARM(ATTR_MPU_RAM) )>;
	};

	shmem: memory@88000000 {
		compatible = "mmio-sram";
		reg = <0x88000000 0x500000>;
	};

	rsc_table: memory@88220000 {
		compatible = "mmio-sram";
		reg = <0x88220000 0x100>;
	};

	mailbox0: mailbox {
		compatible = "zephyr,mbox-ipm";
		mboxes = <&mu7 1>, <&mu7 1>;
		mbox-names = "tx", "rx";
		status = "okay";
	};

	aliases {
		accel0 = &bmi08x_accel;
		gyro0 = &bmi08x_gyro;
		mag0 = &bmm350;
		power0 = &ina230;
		wheel-odometry0 = &tpm4;
		rc = &sbus0;
		/* can0 = &flexcan5; */
	};
};

/* Reconfigure TPM4 as QDEC */
&tpm4 {
	compatible = "nxp,tpm-qdec";
	micro-ticks-per-rev = <685440000>;
	/delete-property/ prescaler;
};

&tpm5 {
	prescaler = <4>;
};

&lpi2c6 {
	clock-frequency = <I2C_BITRATE_STANDARD>;

	ina230: ina230@40 {
		compatible = "ti,ina230";
		reg = <0x40>;
		current-lsb-microamps = <10000>;
		rshunt-micro-ohms = <2000>;
	};
};

&lpuart5 {
	status = "okay";
	current-speed = <100000>;
	rx-invert;

	sbus0: sbus {
		compatible = "futaba,sbus";
		chan_1 {
			channel = <1>;
			type = <INPUT_EV_ABS>;
			zephyr,code = <1>;
		};
		chan_2 {
			channel = <2>;
			type = <INPUT_EV_ABS>;
			zephyr,code = <2>;
		};
		chan_3 {
			channel = <3>;
			type = <INPUT_EV_ABS>;
			zephyr,code = <3>;
		};
		chan_4 {
			channel = <4>;
			type = <INPUT_EV_ABS>;
			zephyr,code = <4>;
		};
		chan_5 {
			channel = <5>;
			type = <INPUT_EV_ABS>;
			zephyr,code = <5>;
		};
		chan_6 {
			channel = <6>;
			type = <INPUT_EV_ABS>;
			zephyr,code = <6>;
		};
		chan_7 {
			channel = <7>;
			type = <INPUT_EV_ABS>;
			zephyr,code = <7>;
		};
		chan_8 {
			channel = <8>;
			type = <INPUT_EV_ABS>;
			zephyr,code = <8>;
		};
		chan_9 {
			channel = <9>;
			type = <INPUT_EV_ABS>;
			zephyr,code = <9>;
		};
		chan_10 {
			channel = <10>;
			type = <INPUT_EV_ABS>;
			zephyr,code = <10>;
		};
		chan_11 {
			channel = <11>;
			type = <INPUT_EV_ABS>;
			zephyr,code = <11>;
		};
		chan_12 {
			channel = <12>;
			type = <INPUT_EV_ABS>;
			zephyr,code = <12>;
		};
		chan_13 {
			channel = <13>;
			type = <INPUT_EV_ABS>;
			zephyr,code = <13>;
		};
		chan_14 {
			channel = <14>;
			type = <INPUT_EV_ABS>;
			zephyr,code = <14>;
		};
		chan_15 {
			channel = <15>;
			type = <INPUT_EV_ABS>;
			zephyr,code = <15>;
		};
		chan_16 {
			channel = <16>;
			type = <INPUT_EV_ABS>;
			zephyr,code = <16>;
		};
	};
};

&mu7 {
	status = "okay";
};
```

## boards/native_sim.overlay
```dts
/*
 * Copyright (c) 2021 Nordic Semiconductor ASA
 * SPDX-License-Identifier: Apache-2.0
 */

/* This devicetree overlay file will be automatically picked by the Zephyr
 * build system when building the sample for the nucleo_f302r8 board. It shows
 * how the example-application can be built on sample boards already provided
 * by Zephyr.
 */

/ {
	chosen {
		zephyr,telem1 = &uart1;
	};
};

&flashcontroller0 {
	reg = <0x00000000 DT_SIZE_K(2048)>;
};

&flash0 {
	reg = <0x00000000 DT_SIZE_K(2048)>;
	partitions {
		compatible = "fixed-partitions";
		#address-cells = <1>;
		#size-cells = <1>;

		flashdisk_partition: partition@0 {
			label = "flashdisk";
			reg = <0x00000000 0x00200000>;
		};
	};
};

/ {
	test_disk: storage_disk {
		compatible = "zephyr,flash-disk";
		partition = <&flashdisk_partition>;
		disk-name = "NAND";
		cache-size = <4096>;
	};
};
```

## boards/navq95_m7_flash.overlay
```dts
/* SPDX-License-Identifier: Apache-2.0 */
/* Copyright 2025 CogniPilot Foundation */
#include <freq.h>
#include <zephyr/dt-bindings/gpio/nxp-s32-gpio.h>
#include <zephyr/dt-bindings/input/input-event-codes.h>
#include <zephyr/dt-bindings/led/led.h>
#include <zephyr/dt-bindings/sensor/ina230.h>
#include <zephyr/dt-bindings/sensor/icm42688.h>
#include <zephyr/dt-bindings/memory-attr/memory-attr-arm.h>

/ {
	pwm_actuators: pwm_actuators {
		compatible = "cerebri,pwm-actuators";
		aux0 {
			input-type = "position";
			input-index = <0>;
			pwms = <&tpm5 2 PWM_HZ(50) PWM_POLARITY_NORMAL>;
			disarmed = <1500>;
			min = <1100>;
			max = <1900>;
			center = <1500>;
			scale = <800>;
			scale-div = <1>;

		};
		aux1 {
			input-type = "velocity";
			input-index = <0>;
			pwms = <&tpm3 1 PWM_HZ(20000) PWM_POLARITY_NORMAL>;
			disarmed = <25000>;
			min = <0>;
			max = <50000>;
			center = <25000>;
			scale = <717>;
			scale-div = <1>;
			use-nano-seconds;
		};
		aux2 {
			input-type = "normalized";
			input-index = <0>;
			pwms = <&tpm5 0 PWM_HZ(50) PWM_POLARITY_NORMAL>;
			disarmed = <0>;
			min = <0>;
			max = <20000>;
			center = <0>;
			scale = <20000>;
			scale-div = <1>;
		};
	};

	chosen {
		zephyr,canbus = &flexcan5;

		zephyr,ipc_shm = &shmem;
		zephyr,ipc_rsc_table = &rsc_table;
		zephyr,ipc = &mailbox0;
	};

	ddr: ddr@90000000 {
		compatible = "zephyr,memory-region", "mmio-sram";
		device_type = "memory";
		reg = <0x90000000 DT_SIZE_M(4)>;
		zephyr,memory-region = "DDR";
		zephyr,memory-attr = <( DT_MEM_ARM(ATTR_MPU_RAM) )>;
	};

	shmem: memory@88000000 {
		compatible = "mmio-sram";
		reg = <0x88000000 0x500000>;
	};

	rsc_table: memory@88220000 {
		compatible = "mmio-sram";
		reg = <0x88220000 0x100>;
	};

	mailbox0: mailbox {
		compatible = "zephyr,mbox-ipm";
		mboxes = <&mu7 1>, <&mu7 1>;
		mbox-names = "tx", "rx";
		status = "okay";
	};

	aliases {
		accel0 = &bmi08x_accel;
		gyro0 = &bmi08x_gyro;
		mag0 = &bmm350;
		power0 = &ina230;
		wheel-odometry0 = &tpm4;
		sbus = &sbus0;
		can0 = &flexcan5;
	};
};

&tpm5 {
	prescaler = <4>;
};

&lpi2c8 {
	clock-frequency = <I2C_BITRATE_STANDARD>;

	ina230: ina230@40 {
		compatible = "ti,ina230";
		reg = <0x40>;
		current-lsb-microamps = <10000>;
		rshunt-micro-ohms = <2000>;
	};
};

&lpuart7 {
	status = "okay";
	current-speed = <100000>;
	single-wire;
	rx-invert;

	sbus0: sbus {
		compatible = "futaba,sbus";
		chan_1 {
			channel = <1>;
			type = <INPUT_EV_ABS>;
			zephyr,code = <1>;
		};
		chan_2 {
			channel = <2>;
			type = <INPUT_EV_ABS>;
			zephyr,code = <2>;
		};
		chan_3 {
			channel = <3>;
			type = <INPUT_EV_ABS>;
			zephyr,code = <3>;
		};
		chan_4 {
			channel = <4>;
			type = <INPUT_EV_ABS>;
			zephyr,code = <4>;
		};
		chan_5 {
			channel = <5>;
			type = <INPUT_EV_ABS>;
			zephyr,code = <5>;
		};
		chan_6 {
			channel = <6>;
			type = <INPUT_EV_ABS>;
			zephyr,code = <6>;
		};
		chan_7 {
			channel = <7>;
			type = <INPUT_EV_ABS>;
			zephyr,code = <7>;
		};
		chan_8 {
			channel = <8>;
			type = <INPUT_EV_ABS>;
			zephyr,code = <8>;
		};
		chan_9 {
			channel = <9>;
			type = <INPUT_EV_ABS>;
			zephyr,code = <9>;
		};
		chan_10 {
			channel = <10>;
			type = <INPUT_EV_ABS>;
			zephyr,code = <10>;
		};
		chan_11 {
			channel = <11>;
			type = <INPUT_EV_ABS>;
			zephyr,code = <11>;
		};
		chan_12 {
			channel = <12>;
			type = <INPUT_EV_ABS>;
			zephyr,code = <12>;
		};
		chan_13 {
			channel = <13>;
			type = <INPUT_EV_ABS>;
			zephyr,code = <13>;
		};
		chan_14 {
			channel = <14>;
			type = <INPUT_EV_ABS>;
			zephyr,code = <14>;
		};
		chan_15 {
			channel = <15>;
			type = <INPUT_EV_ABS>;
			zephyr,code = <15>;
		};
		chan_16 {
			channel = <16>;
			type = <INPUT_EV_ABS>;
			zephyr,code = <16>;
		};
	};
};

&mu7 {
	status = "okay";
};

&tpm4 {
	counts-per-revolution = <685>;
};
```

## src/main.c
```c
/*
 * Copyright (c) 2023 CogniPilot Foundation
 * SPDX-License-Identifier: Apache-2.0
 */

#include <stdio.h>

#include <zephyr/kernel.h>
#include <zephyr/logging/log.h>

#include <cerebri/core/common.h>

LOG_MODULE_REGISTER(b3rb_main, CONFIG_CEREBRI_B3RB_LOG_LEVEL);

int main(void)
{
    LOG_INF("init");
#if defined(CONFIG_CEREBRI_BOOT_BANNER)
    printf("%s%s", banner_brain, banner_name);
#endif
    LOG_INF("Cerebri B3RB %d.%d.%d", CONFIG_CEREBRI_VERSION_MAJOR, CONFIG_CEREBRI_VERSION_MINOR, CONFIG_CEREBRI_VERSION_PATCH);
    return 0;
}

// vi: ts=4 sw=4 et
```

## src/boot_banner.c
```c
/*
 * Copyright (c) 2023 CogniPilot Foundation
 * SPDX-License-Identifier: Apache-2.0
 */

#include <zephyr/kernel.h>
#include <zephyr/logging/log.h>

#if defined(CONFIG_CEREBRI_CORE_COMMON_BOOT_BANNER)
#include <stdio.h>
#endif

#include <cerebri/core/common.h>

LOG_MODULE_REGISTER(b3rb_boot_banner, CONFIG_CEREBRI_B3RB_LOG_LEVEL);

static int b3rb_boot_banner_sys_init(void)
{
	LOG_INF("Cerebri B3RB %d.%d.%d", CONFIG_CEREBRI_VERSION_MAJOR, CONFIG_CEREBRI_VERSION_MINOR,
		CONFIG_CEREBRI_VERSION_PATCH);
#if defined(CONFIG_CEREBRI_CORE_COMMON_BOOT_BANNER)
	printf("%s%s", banner_brain, banner_name);
#endif
	return 0;
};

SYS_INIT(b3rb_boot_banner_sys_init, APPLICATION, 0);

// vi: ts=4 sw=4 et
```

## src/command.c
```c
/*
 * Copyright CogniPilot Foundation 2024
 * SPDX-License-Identifier: Apache-2.0
 */

#include <zephyr/kernel.h>
#include <zephyr/logging/log.h>
#include <zephyr/shell/shell.h>

#include <zros/private/zros_node_struct.h>
#include <zros/private/zros_pub_struct.h>
#include <zros/private/zros_sub_struct.h>
#include <zros/zros_node.h>
#include <zros/zros_pub.h>
#include <zros/zros_sub.h>

#include <synapse_topic_list.h>

#include "input_mapping.h"
#include "mixing.h"

#define MY_STACK_SIZE 8192
#define MY_PRIORITY   4

LOG_MODULE_REGISTER(b3rb_command, CONFIG_CEREBRI_B3RB_LOG_LEVEL);

static K_THREAD_STACK_DEFINE(g_my_stack_area, MY_STACK_SIZE);

struct context {
	struct zros_node node;
	synapse_pb_Status status;
	synapse_pb_Input input;
	synapse_pb_Actuators actuators;
	synapse_pb_Twist cmd_vel;
	struct zros_sub sub_status, sub_cmd_vel, sub_input;
	struct zros_pub pub_actuators;
	const double wheel_radius;
	const double max_turn_angle;
	const double max_velocity;
	struct k_sem running;
	size_t stack_size;
	k_thread_stack_t *stack_area;
	struct k_thread thread_data;
};

static struct context g_ctx = {
	.node = {},
	.status = synapse_pb_Status_init_default,
	.input = synapse_pb_Input_init_default,
	.actuators = synapse_pb_Actuators_init_default,
	.cmd_vel = synapse_pb_Twist_init_default,
	.sub_status = {},
	.sub_cmd_vel = {},
	.pub_actuators = {},
	.wheel_radius = CONFIG_CEREBRI_B3RB_WHEEL_RADIUS_MM / 1000.0,
	.max_turn_angle = CONFIG_CEREBRI_B3RB_MAX_TURN_ANGLE_MRAD / 1000.0,
	.max_velocity = CONFIG_CEREBRI_B3RB_MAX_VELOCITY_MM_S / 1000.0,
	.running = Z_SEM_INITIALIZER(g_ctx.running, 1, 1),
	.stack_size = MY_STACK_SIZE,
	.stack_area = g_my_stack_area,
	.thread_data = {},
};

static void b3rb_command_init(struct context *ctx)
{
	zros_node_init(&ctx->node, "b3rb_command");
	zros_sub_init(&ctx->sub_status, &ctx->node, &topic_status, &ctx->status, 10);
	zros_sub_init(&ctx->sub_input, &ctx->node, &topic_input, &ctx->input, 10);
	zros_sub_init(&ctx->sub_cmd_vel, &ctx->node, &topic_cmd_vel, &ctx->cmd_vel, 10);
	zros_pub_init(&ctx->pub_actuators, &ctx->node, &topic_actuators, &ctx->actuators);
	k_sem_take(&ctx->running, K_FOREVER);
	LOG_INF("init");
}

static void b3rb_command_fini(struct context *ctx)
{
	zros_sub_fini(&ctx->sub_status);
	zros_sub_fini(&ctx->sub_input);
	zros_sub_fini(&ctx->sub_cmd_vel);
	zros_pub_fini(&ctx->pub_actuators);
	zros_node_fini(&ctx->node);
	k_sem_give(&ctx->running);
	LOG_INF("fini");
}

static void b3rb_stop(struct context *ctx)
{
	for (int i = 0; i < ctx->input.channel_count; i++) {
		ctx->input.channel[i] = 0;
	}
	ctx->cmd_vel.has_angular = true;
	ctx->cmd_vel.angular.x = 0;
	ctx->cmd_vel.angular.y = 0;
	ctx->cmd_vel.angular.z = 0;
	ctx->cmd_vel.has_linear = true;
	ctx->cmd_vel.linear.x = 0;
	ctx->cmd_vel.linear.y = 0;
	ctx->cmd_vel.linear.z = 0;
}

static void b3rb_command_run(void *p0, void *p1, void *p2)
{
	struct context *ctx = p0;
	ARG_UNUSED(p1);
	ARG_UNUSED(p2);

	b3rb_command_init(ctx);

	double dt = 0;
	int64_t ticks_last = k_uptime_ticks();

	while (k_sem_take(&ctx->running, K_NO_WAIT) < 0) {
		// wait for input event, publish at 1 Hz regardless
		int rc = 0;

		struct k_poll_event events[3] = {
			*zros_sub_get_event(&ctx->sub_status),
			*zros_sub_get_event(&ctx->sub_input),
			*zros_sub_get_event(&ctx->sub_cmd_vel),
		};
		rc = k_poll(events, ARRAY_SIZE(events), K_MSEC(1000));

		if (rc != 0) {
			b3rb_stop(ctx);
		}

		bool update_status = zros_sub_update_available(&ctx->sub_status);
		bool update_input = zros_sub_update_available(&ctx->sub_input);
		bool update_cmd_vel = zros_sub_update_available(&ctx->sub_cmd_vel);

		if (update_status) {
			zros_sub_update(&ctx->sub_status);
		}

		if (update_input) {
			zros_sub_update(&ctx->sub_input);
		}

		if (update_cmd_vel) {
			zros_sub_update(&ctx->sub_cmd_vel);
		}

		// calculate dt
		int64_t ticks_now = k_uptime_ticks();
		dt = (double)(ticks_now - ticks_last) / CONFIG_SYS_CLOCK_TICKS_PER_SEC;
		ticks_last = ticks_now;
		if (dt < 0 || dt > 0.5) {
			LOG_ERR("input update rate too low: %10.4f", dt);
			continue;
		}

		if (ctx->status.mode == synapse_pb_Status_Mode_MODE_ACTUATORS) {

			double turn_angle = -ctx->max_turn_angle *
					    (double)ctx->input.channel[CH_RIGHT_STICK_RIGHT];
			double omega_fwd = ctx->max_velocity *
					   (double)ctx->input.channel[CH_LEFT_STICK_UP] /
					   ctx->wheel_radius;

			bool armed = ctx->status.arming == synapse_pb_Status_Arming_ARMING_ARMED;

			b3rb_set_actuators(&ctx->actuators, turn_angle, omega_fwd, armed);
			zros_pub_update(&ctx->pub_actuators);
		}
	}

	b3rb_command_fini(ctx);
}

static int start(struct context *ctx)
{
	k_tid_t tid = k_thread_create(&ctx->thread_data, ctx->stack_area, ctx->stack_size,
				      b3rb_command_run, ctx, NULL, NULL, MY_PRIORITY, 0, K_FOREVER);
	k_thread_name_set(tid, "b3rb_command");
	k_thread_start(tid);
	return 0;
}

static int b3rb_command_cmd_handler(const struct shell *sh, size_t argc, char **argv, void *data)
{
	ARG_UNUSED(argc);
	struct context *ctx = data;

	if (strcmp(argv[0], "start") == 0) {
		if (k_sem_count_get(&g_ctx.running) == 0) {
			shell_print(sh, "already running");
		} else {
			start(ctx);
		}
	} else if (strcmp(argv[0], "stop") == 0) {
		if (k_sem_count_get(&g_ctx.running) == 0) {
			k_sem_give(&g_ctx.running);
		} else {
			shell_print(sh, "not running");
		}
	} else if (strcmp(argv[0], "status") == 0) {
		shell_print(sh, "running: %d", (int)k_sem_count_get(&g_ctx.running) == 0);
	}
	return 0;
}

SHELL_SUBCMD_DICT_SET_CREATE(sub_b3rb_command, b3rb_command_cmd_handler, (start, &g_ctx, "start"),
			     (stop, &g_ctx, "stop"), (status, &g_ctx, "status"));

SHELL_CMD_REGISTER(b3rb_command, &sub_b3rb_command, "b3rb command arguments", NULL);

static int b3rb_command_sys_init(void)
{
	return start(&g_ctx);
};

SYS_INIT(b3rb_command_sys_init, APPLICATION, 1);

// vi: ts=4 sw=4 et
```

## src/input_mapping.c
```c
#include "input_mapping.h"
#include <math.h>
#include <zephyr/logging/log.h>

LOG_MODULE_DECLARE(b3rb_fsm);

int two_position_switch(float val)
{
	if (val > 0.0f) {
		return SWITCH_POS_DOWN;
	} else {
		return SWITCH_POS_UP;
	}
}

int three_position_switch(float val)
{
	if (val > 0.25f) {
		return SWITCH_POS_DOWN;
	} else if (fabsf(val) <= 0.25f) {
		return SWITCH_POS_MIDDLE;
	} else {
		return SWITCH_POS_UP;
	}
}

void input_request_compute(struct input_request *req, const synapse_pb_Input *input)
{
	// handle input
	int swa = two_position_switch(input->channel[CH_SWA_DOWN]);
	int swb = three_position_switch(input->channel[CH_SWB_DOWN]);
	int swc = three_position_switch(input->channel[CH_SWC_DOWN]);
	int swd = two_position_switch(input->channel[CH_SWD_DOWN]);

	req->arm = swa == SWITCH_POS_DOWN;
	req->disarm = swa == SWITCH_POS_UP;

	req->topic_source_input = swd == SWITCH_POS_UP;
	req->topic_source_ethernet = swd == SWITCH_POS_DOWN;

	req->mode_actuators = swb == SWITCH_POS_UP && swc == SWITCH_POS_UP;
	req->mode_velocity = swb == SWITCH_POS_UP && swc == SWITCH_POS_MIDDLE;
	req->mode_bezier = swb == SWITCH_POS_UP && swc == SWITCH_POS_DOWN;

	req->mode_calibration = swb == SWITCH_POS_DOWN && swc == SWITCH_POS_DOWN;

	if (input->channel[CH_VRA_CW] > 0.5f && !req->lights_on) {
		req->lights_on = true;
		LOG_INF("request lights on");
	} else if (input->channel[CH_VRA_CW] < -0.5f && req->lights_on) {
		LOG_INF("request lights off");
		req->lights_on = false;
	}
	if (input->channel[CH_VRB_CCW] > 0.5f && !req->input_source_radio_control) {
		req->input_source_radio_control = true;
		req->input_source_ethernet = false;
		LOG_INF("request rc input");
	} else if (input->channel[CH_VRB_CCW] < -0.5f && !req->input_source_ethernet) {
		LOG_INF("request ethernet input");
		req->input_source_ethernet = true;
		req->input_source_radio_control = false;
	} else {
		req->input_source_ethernet = false;
		req->input_source_radio_control = false;
	}
}
```

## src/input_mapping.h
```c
#ifndef CEREBRI_RDD2_INPUT_MAPPING_H_
#define CEREBRI_RDD2_INPUT_MAPPING_H_

#include <stdbool.h>
#include <synapse_pb/input.pb.h>

enum {
	CH_RIGHT_STICK_RIGHT = 0,
	CH_RIGHT_STICK_UP = 1,
	CH_LEFT_STICK_UP = 2,
	CH_LEFT_STICK_RIGHT = 3,
	CH_SWA_DOWN = 4,
	CH_SWB_DOWN = 5,
	CH_SWC_DOWN = 6,
	CH_SWD_DOWN = 7,
	CH_VRA_CW = 8,
	CH_VRB_CCW = 9,
};

enum {
	SWITCH_POS_UP = 0,
	SWITCH_POS_MIDDLE = 1,
	SWITCH_POS_DOWN = 2,
};

int two_position_switch(float val);
int three_position_switch(float val);

struct input_request {
	bool arm;
	bool disarm;
	bool input_source_radio_control;
	bool input_source_ethernet;
	bool topic_source_input;
	bool topic_source_ethernet;
	bool mode_actuators;
	bool mode_angular_velocity;
	bool mode_attitude;
	bool mode_attitude_rate;
	bool mode_velocity;
	bool mode_bezier;
	bool mode_calibration;
	bool lights_on;
};

void input_request_compute(struct input_request *req, const synapse_pb_Input *input);

#endif // CEREBRI_RDD2_INPUT_MAPPING_H_

// vi: ts=4 sw=4 et
```

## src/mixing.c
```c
/*
 * Copyright CogniPilot Foundation 2023
 * SPDX-License-Identifier: Apache-2.0
 */

#include "mixing.h"

void b3rb_set_actuators(synapse_pb_Actuators *msg, double turn_angle, double omega_fwd, bool armed)
{
	msg->has_stamp = true;
	stamp_msg(&msg->stamp, k_uptime_ticks());

	if (!armed) {
		// stop if not armed
		turn_angle = 0;
		omega_fwd = 0;
	}

	msg->position_count = 1;
	msg->position[0] = turn_angle;

	msg->velocity_count = 1;
	msg->velocity[0] = omega_fwd;

	msg->normalized_count = 1;
	msg->normalized[0] = armed ? 1 : -1;
}

/* vi: ts=4 sw=4 et */
```

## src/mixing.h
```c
/*
 * Copyright CogniPilot Foundation 2023
 * SPDX-License-Identifier: Apache-2.0
 */

#ifndef CEREBRI_B3RB_MIXING_H
#define CEREBRI_B3RB_MIXING_H

#include <synapse_topic_list.h>

void b3rb_set_actuators(synapse_pb_Actuators *msg, double turn_angle, double omega_fwd, bool armed);

#endif // CEREBRI_B3RB_MIXING_H
/* vi: ts=4 sw=4 et */
```
